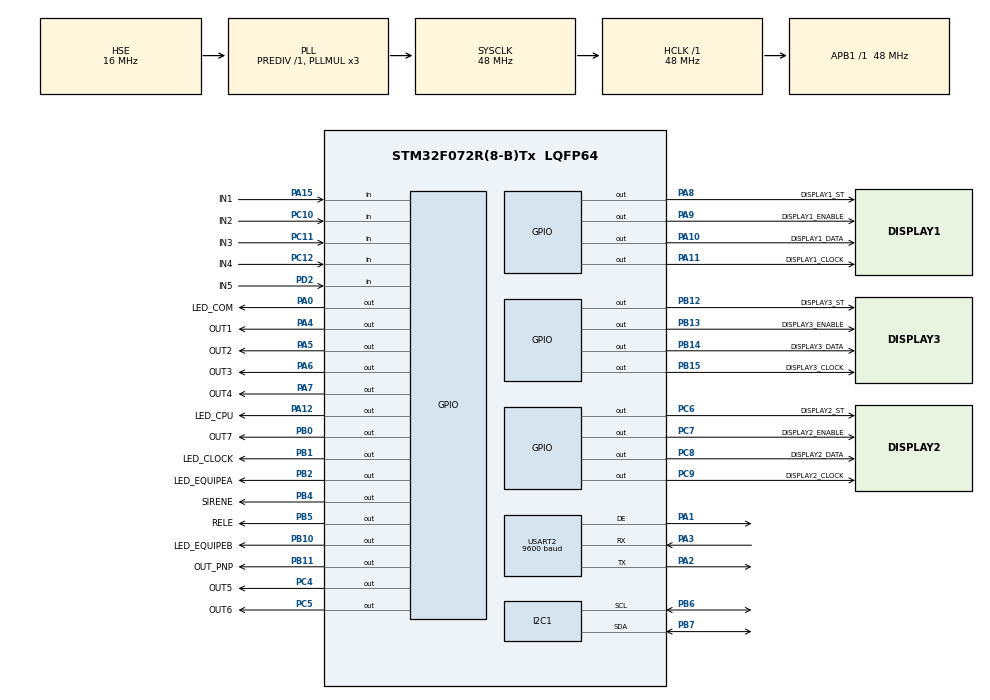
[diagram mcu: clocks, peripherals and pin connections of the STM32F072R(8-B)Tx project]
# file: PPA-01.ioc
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IWDG.Prescaler=IWDG_PRESCALER_64
Mcu.Family=STM32F0
Mcu.Name=STM32F072R(8-B)Tx
Mcu.Package=LQFP64
NVIC.TIM3_IRQn=true\:0\:0\:false\:false\:true\:true\:true\:true
NVIC.TIM6_DAC_IRQn=true\:0\:0\:false\:false\:true\:true\:true\:true
NVIC.USART2_IRQn=true\:0\:0\:false\:false\:true\:true\:true\:true
PA0.GPIO_Label=LED_COM
PA0.Signal=GPIO_Output
PA1.Mode=Hardware Flow Control (RS485)
PA1.Signal=USART2_DE
PA10.GPIO_Label=DISPLAY1_DATA
PA10.Signal=GPIO_Output
PA11.GPIO_Label=DISPLAY1_CLOCK
PA11.Signal=GPIO_Output
PA12.GPIO_Label=LED_CPU
PA12.Signal=GPIO_Output
PA13.Mode=Serial_Wire
PA13.Signal=SYS_SWDIO
PA14.Mode=Serial_Wire
PA14.Signal=SYS_SWCLK
PA15.GPIO_Label=IN1
PA15.Signal=GPIO_Input
PA2.Mode=Asynchronous
PA2.Signal=USART2_TX
PA3.Mode=Asynchronous
PA3.Signal=USART2_RX
PA4.GPIO_Label=OUT1
PA4.Signal=GPIO_Output
PA5.GPIO_Label=OUT2
PA5.Signal=GPIO_Output
PA6.GPIO_Label=OUT3
PA6.Signal=GPIO_Output
PA7.GPIO_Label=OUT4
PA7.Signal=GPIO_Output
PA8.GPIO_Label=DISPLAY1_ST
PA8.Signal=GPIO_Output
PA9.GPIO_Label=DISPLAY1_ENABLE
PA9.Signal=GPIO_Output
PB0.GPIO_Label=OUT7
PB0.Signal=GPIO_Output
PB1.GPIO_Label=LED_CLOCK
PB1.Signal=GPIO_Output
PB10.GPIO_Label=LED_EQUIPEB
PB10.Signal=GPIO_Output
PB11.GPIO_Label=OUT_PNP
PB11.Signal=GPIO_Output
PB12.GPIO_Label=DISPLAY3_ST
PB12.Signal=GPIO_Output
PB13.GPIO_Label=DISPLAY3_ENABLE
PB13.Signal=GPIO_Output
PB14.GPIO_Label=DISPLAY3_DATA
PB14.Signal=GPIO_Output
PB15.GPIO_Label=DISPLAY3_CLOCK
PB15.Signal=GPIO_Output
PB2.GPIO_Label=LED_EQUIPEA
PB2.Signal=GPIO_Output
PB4.GPIO_Label=SIRENE
PB4.Signal=GPIO_Output
PB5.GPIO_Label=RELE
PB5.Signal=GPIO_Output
PB6.Mode=I2C
PB6.Signal=I2C1_SCL
PB7.Mode=I2C
PB7.Signal=I2C1_SDA
PC10.GPIO_Label=IN2
PC10.Signal=GPIO_Input
PC11.GPIO_Label=IN3
PC11.Signal=GPIO_Input
PC12.GPIO_Label=IN4
PC12.Signal=GPIO_Input
PC4.GPIO_Label=OUT5
PC4.Signal=GPIO_Output
PC5.GPIO_Label=OUT6
PC5.Signal=GPIO_Output
PC6.GPIO_Label=DISPLAY2_ST
PC6.Signal=GPIO_Output
PC7.GPIO_Label=DISPLAY2_ENABLE
PC7.Signal=GPIO_Output
PC8.GPIO_Label=DISPLAY2_DATA
PC8.Signal=GPIO_Output
PC9.GPIO_Label=DISPLAY2_CLOCK
PC9.Signal=GPIO_Output
PD2.GPIO_Label=IN5
PD2.Signal=GPIO_Input
PF0-OSC_IN.Mode=HSE-External-Oscillator
PF0-OSC_IN.Signal=RCC_OSC_IN
PF1-OSC_OUT.Mode=HSE-External-Oscillator
PF1-OSC_OUT.Signal=RCC_OSC_OUT
ProjectManager.HeapSize=0x200
ProjectManager.StackSize=0x400
ProjectManager.TargetToolchain=STM32CubeIDE
RCC.AHBFreq_Value=48000000
RCC.APB1Freq_Value=48000000
RCC.APB1TimFreq_Value=48000000
RCC.EnbaleCSS=true
RCC.HCLKFreq_Value=48000000
RCC.HSE_VALUE=16000000
RCC.PLLMUL=RCC_PLL_MUL3
RCC.PLLSourceVirtual=RCC_PLLSOURCE_HSE
RCC.SYSCLKFreq_VALUE=48000000
RCC.SYSCLKSource=RCC_SYSCLKSOURCE_PLLCLK
TIM2.Prescaler=48-1
TIM3.Period=10-1
TIM3.Prescaler=480-1
TIM6.Period=100-1
TIM6.Prescaler=48000-1
USART2.BaudRate=9600
USART2.VirtualMode-Asynchronous=VM_ASYNC
USART2.VirtualMode-Hardware\ Flow\ Control\ (RS485)=VM_ASYNC
VP_IWDG_VS_IWDG.Mode=IWDG_Activate
VP_TIM2_VS_ClockSourceINT.Mode=Internal
VP_TIM3_VS_ClockSourceINT.Mode=Internal
VP_TIM6_VS_ClockSourceINT.Mode=Enable_Timer
board=custom

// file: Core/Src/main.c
/* USER CODE BEGIN Header */
/**
  ******************************************************************************
  * @file           : main.c
  * @brief          : Main program body
  ******************************************************************************
  * @attention
  *
  * Copyright (c) 2023 STMicroelectronics.
  * All rights reserved.
  *
  * This software is licensed under terms that can be found in the LICENSE file
  * in the root directory of this software component.
  * If no LICENSE file comes with this software, it is provided AS-IS.
  *
  ******************************************************************************
  */
/* USER CODE END Header */
#include "main.h"

/* USER CODE BEGIN Includes */
#include "global.h"
#include "string.h"
/* USER CODE END Includes */

I2C_HandleTypeDef hi2c1;

IWDG_HandleTypeDef hiwdg;

TIM_HandleTypeDef htim2;
TIM_HandleTypeDef htim3;
TIM_HandleTypeDef htim6;

UART_HandleTypeDef huart2;

/* USER CODE BEGIN PV */

CronometroTypeDef
	cronometro,
	setpointCronometro;

uint8_t
	flagLedCOM = false,
	flagAtualizaDisplays = false,

	flagCampainha = false,
	flagCronometro = false,
	flagCronometroEstourado = false,
	flagCronometroZerado = false,

	flagTempoTimeA = false,
	flagTempoTimeB = false,

	flagPacoteRS485 = true;

uint8_t
	faltasEquipeA = 0,
	faltasEquipeB = 0,
	periodo = 1,
	tipoCronometro = REGRESSIVO,

	comandoPlacar = SEM_COMANDO,

	contadorRS485Buffer = 0;

char
	rs485DataIn = 0;

uint16_t
	pontosEquipeA = 0,
	pontosEquipeB = 0;

uint8_t
	displaysCronometro[5],
	displaysEquipeA[5],
	displaysEquipeB[5];

char
	rs485Buffer[TAMANHO_RS485_BUFFER];

/* USER CODE END PV */

void SystemClock_Config(void);
static void MX_GPIO_Init(void);
static void MX_I2C1_Init(void);
static void MX_IWDG_Init(void);
static void MX_USART2_UART_Init(void);
static void MX_TIM2_Init(void);
static void MX_TIM3_Init(void);
static void MX_TIM6_Init(void);

/* USER CODE BEGIN 0 */
void HAL_TIM_PeriodElapsedCallback(TIM_HandleTypeDef *htim) {
	if(htim == &htim3) {
		schedulerEngine();
	}

	if(htim == &htim6) {
		controleCronometro();
	}
}

void delayMicro(uint32_t tempo) {
	__HAL_TIM_SET_COUNTER(&htim2, 0);
	while(__HAL_TIM_GET_COUNTER(&htim2) < tempo) {
	}
}

void reiniciaWatchDog() {
	HAL_IWDG_Refresh(&hiwdg);
}

void HAL_UART_RxCpltCallback(UART_HandleTypeDef *huart) {
	if(huart-> Instance==USART2) { // RS485
		if(rs485DataIn == 0x0) {
			return;
		}

		rs485Buffer[contadorRS485Buffer] = rs485DataIn;
		contadorRS485Buffer ++;

		if(contadorRS485Buffer >= TAMANHO_RS485_BUFFER) {
			limpaRS485Buffer();
		}

		if(rs485DataIn == 0x0A) {
			flagPacoteRS485 = true;
		}
	}

}
/* USER CODE END 0 */

int main(void)
{

  /* MCU Configuration--------------------------------------------------------*/

  /* Reset of all peripherals, Initializes the Flash interface and the Systick. */
  HAL_Init();

  /* Configure the system clock */
  SystemClock_Config();

  /* Initialize all configured peripherals */
  MX_GPIO_Init();
  MX_I2C1_Init();
  MX_IWDG_Init();
  MX_USART2_UART_Init();
  MX_TIM2_Init();
  MX_TIM3_Init();
  MX_TIM6_Init();
  /* USER CODE BEGIN 2 */
  HAL_TIM_Base_Start(&htim2); //Timer do delay us
  HAL_TIM_Base_Start_IT(&htim3); //Timer do Scheduller
  HAL_TIM_Base_Start_IT(&htim6); //Cronometro

  apresentacaoInicial();

  verificaEeprom();
  readEeprom();

  verificacaoInicialCronometro();
  /* USER CODE END 2 */

  /* Infinite loop */
  /* USER CODE BEGIN WHILE */
  while (1)
  {
	  atualizaDisplays();
	  controlePlacar();
	  saidasDigitais();
    /* USER CODE END WHILE */

    /* USER CODE BEGIN 3 */
	  HAL_UART_Receive_IT(&huart2, &rs485DataIn, 1);
	  protocoloRS485();
  }
  /* USER CODE END 3 */
}

void SystemClock_Config(void)
{
  RCC_OscInitTypeDef RCC_OscInitStruct = {0};
  RCC_ClkInitTypeDef RCC_ClkInitStruct = {0};
  RCC_PeriphCLKInitTypeDef PeriphClkInit = {0};

  /** Initializes the RCC Oscillators according to the specified parameters
  * in the RCC_OscInitTypeDef structure.
  */
  RCC_OscInitStruct.OscillatorType = RCC_OSCILLATORTYPE_HSI|RCC_OSCILLATORTYPE_LSI
                              |RCC_OSCILLATORTYPE_HSE;
  RCC_OscInitStruct.HSEState = RCC_HSE_ON;
  RCC_OscInitStruct.HSIState = RCC_HSI_ON;
  RCC_OscInitStruct.HSICalibrationValue = RCC_HSICALIBRATION_DEFAULT;
  RCC_OscInitStruct.LSIState = RCC_LSI_ON;
  RCC_OscInitStruct.PLL.PLLState = RCC_PLL_ON;
  RCC_OscInitStruct.PLL.PLLSource = RCC_PLLSOURCE_HSE;
  RCC_OscInitStruct.PLL.PLLMUL = RCC_PLL_MUL3;
  RCC_OscInitStruct.PLL.PREDIV = RCC_PREDIV_DIV1;
  if (HAL_RCC_OscConfig(&RCC_OscInitStruct) != HAL_OK)
  {
    Error_Handler();
  }

  /** Initializes the CPU, AHB and APB buses clocks
  */
  RCC_ClkInitStruct.ClockType = RCC_CLOCKTYPE_HCLK|RCC_CLOCKTYPE_SYSCLK
                              |RCC_CLOCKTYPE_PCLK1;
  RCC_ClkInitStruct.SYSCLKSource = RCC_SYSCLKSOURCE_PLLCLK;
  RCC_ClkInitStruct.AHBCLKDivider = RCC_SYSCLK_DIV1;
  RCC_ClkInitStruct.APB1CLKDivider = RCC_HCLK_DIV1;

  if (HAL_RCC_ClockConfig(&RCC_ClkInitStruct, FLASH_LATENCY_1) != HAL_OK)
  {
    Error_Handler();
  }
  PeriphClkInit.PeriphClockSelection = RCC_PERIPHCLK_USART2|RCC_PERIPHCLK_I2C1;
  PeriphClkInit.Usart2ClockSelection = RCC_USART2CLKSOURCE_PCLK1;
  PeriphClkInit.I2c1ClockSelection = RCC_I2C1CLKSOURCE_HSI;
  if (HAL_RCCEx_PeriphCLKConfig(&PeriphClkInit) != HAL_OK)
  {
    Error_Handler();
  }

  /** Enables the Clock Security System
  */
  HAL_RCC_EnableCSS();
}

static void MX_I2C1_Init(void)
{

  hi2c1.Instance = I2C1;
  hi2c1.Init.Timing = 0x2000090E;
  hi2c1.Init.OwnAddress1 = 0;
  hi2c1.Init.AddressingMode = I2C_ADDRESSINGMODE_7BIT;
  hi2c1.Init.DualAddressMode = I2C_DUALADDRESS_DISABLE;
  hi2c1.Init.OwnAddress2 = 0;
  hi2c1.Init.OwnAddress2Masks = I2C_OA2_NOMASK;
  hi2c1.Init.GeneralCallMode = I2C_GENERALCALL_DISABLE;
  hi2c1.Init.NoStretchMode = I2C_NOSTRETCH_DISABLE;
  if (HAL_I2C_Init(&hi2c1) != HAL_OK)
  {
    Error_Handler();
  }

  /** Configure Analogue filter
  */
  if (HAL_I2CEx_ConfigAnalogFilter(&hi2c1, I2C_ANALOGFILTER_ENABLE) != HAL_OK)
  {
    Error_Handler();
  }

  /** Configure Digital filter
  */
  if (HAL_I2CEx_ConfigDigitalFilter(&hi2c1, 0) != HAL_OK)
  {
    Error_Handler();
  }

}

static void MX_IWDG_Init(void)
{

  hiwdg.Instance = IWDG;
  hiwdg.Init.Prescaler = IWDG_PRESCALER_64;
  hiwdg.Init.Window = 4095;
  hiwdg.Init.Reload = 4095;
  if (HAL_IWDG_Init(&hiwdg) != HAL_OK)
  {
    Error_Handler();
  }

}

static void MX_TIM2_Init(void)
{

  TIM_ClockConfigTypeDef sClockSourceConfig = {0};
  TIM_MasterConfigTypeDef sMasterConfig = {0};

  htim2.Instance = TIM2;
  htim2.Init.Prescaler = 48-1;
  htim2.Init.CounterMode = TIM_COUNTERMODE_UP;
  htim2.Init.Period = 4294967295;
  htim2.Init.ClockDivision = TIM_CLOCKDIVISION_DIV1;
  htim2.Init.AutoReloadPreload = TIM_AUTORELOAD_PRELOAD_DISABLE;
  if (HAL_TIM_Base_Init(&htim2) != HAL_OK)
  {
    Error_Handler();
  }
  sClockSourceConfig.ClockSource = TIM_CLOCKSOURCE_INTERNAL;
  if (HAL_TIM_ConfigClockSource(&htim2, &sClockSourceConfig) != HAL_OK)
  {
    Error_Handler();
  }
  sMasterConfig.MasterOutputTrigger = TIM_TRGO_RESET;
  sMasterConfig.MasterSlaveMode = TIM_MASTERSLAVEMODE_DISABLE;
  if (HAL_TIMEx_MasterConfigSynchronization(&htim2, &sMasterConfig) != HAL_OK)
  {
    Error_Handler();
  }

}

static void MX_TIM3_Init(void)
{

  TIM_ClockConfigTypeDef sClockSourceConfig = {0};
  TIM_MasterConfigTypeDef sMasterConfig = {0};

  htim3.Instance = TIM3;
  htim3.Init.Prescaler = 480-1;
  htim3.Init.CounterMode = TIM_COUNTERMODE_UP;
  htim3.Init.Period = 10-1;
  htim3.Init.ClockDivision = TIM_CLOCKDIVISION_DIV1;
  htim3.Init.AutoReloadPreload = TIM_AUTORELOAD_PRELOAD_DISABLE;
  if (HAL_TIM_Base_Init(&htim3) != HAL_OK)
  {
    Error_Handler();
  }
  sClockSourceConfig.ClockSource = TIM_CLOCKSOURCE_INTERNAL;
  if (HAL_TIM_ConfigClockSource(&htim3, &sClockSourceConfig) != HAL_OK)
  {
    Error_Handler();
  }
  sMasterConfig.MasterOutputTrigger = TIM_TRGO_RESET;
  sMasterConfig.MasterSlaveMode = TIM_MASTERSLAVEMODE_DISABLE;
  if (HAL_TIMEx_MasterConfigSynchronization(&htim3, &sMasterConfig) != HAL_OK)
  {
    Error_Handler();
  }

}

static void MX_TIM6_Init(void)
{

  TIM_MasterConfigTypeDef sMasterConfig = {0};

  htim6.Instance = TIM6;
  htim6.Init.Prescaler = 48000-1;
  htim6.Init.CounterMode = TIM_COUNTERMODE_UP;
  htim6.Init.Period = 100-1;
  htim6.Init.AutoReloadPreload = TIM_AUTORELOAD_PRELOAD_DISABLE;
  if (HAL_TIM_Base_Init(&htim6) != HAL_OK)
  {
    Error_Handler();
  }
  sMasterConfig.MasterOutputTrigger = TIM_TRGO_RESET;
  sMasterConfig.MasterSlaveMode = TIM_MASTERSLAVEMODE_DISABLE;
  if (HAL_TIMEx_MasterConfigSynchronization(&htim6, &sMasterConfig) != HAL_OK)
  {
    Error_Handler();
  }

}

static void MX_USART2_UART_Init(void)
{

  huart2.Instance = USART2;
  huart2.Init.BaudRate = 9600;
  huart2.Init.WordLength = UART_WORDLENGTH_8B;
  huart2.Init.StopBits = UART_STOPBITS_1;
  huart2.Init.Parity = UART_PARITY_NONE;
  huart2.Init.Mode = UART_MODE_TX_RX;
  huart2.Init.HwFlowCtl = UART_HWCONTROL_NONE;
  huart2.Init.OverSampling = UART_OVERSAMPLING_16;
  huart2.Init.OneBitSampling = UART_ONE_BIT_SAMPLE_DISABLE;
  huart2.AdvancedInit.AdvFeatureInit = UART_ADVFEATURE_NO_INIT;
  if (HAL_RS485Ex_Init(&huart2, UART_DE_POLARITY_HIGH, 0, 0) != HAL_OK)
  {
    Error_Handler();
  }

}

static void MX_GPIO_Init(void)
{
  GPIO_InitTypeDef GPIO_InitStruct = {0};

  /* GPIO Ports Clock Enable */
  __HAL_RCC_GPIOF_CLK_ENABLE();
  __HAL_RCC_GPIOA_CLK_ENABLE();
  __HAL_RCC_GPIOC_CLK_ENABLE();
  __HAL_RCC_GPIOB_CLK_ENABLE();
  __HAL_RCC_GPIOD_CLK_ENABLE();

  /*Configure GPIO pin Output Level */
  HAL_GPIO_WritePin(GPIOA, LED_COM_Pin|OUT1_Pin|OUT2_Pin|OUT3_Pin
                          |OUT4_Pin|DISPLAY1_ST_Pin|DISPLAY1_ENABLE_Pin|DISPLAY1_DATA_Pin
                          |DISPLAY1_CLOCK_Pin|LED_CPU_Pin, GPIO_PIN_RESET);

  /*Configure GPIO pin Output Level */
  HAL_GPIO_WritePin(GPIOC, OUT5_Pin|OUT6_Pin|DISPLAY2_ST_Pin|DISPLAY2_ENABLE_Pin
                          |DISPLAY2_DATA_Pin|DISPLAY2_CLOCK_Pin, GPIO_PIN_RESET);

  /*Configure GPIO pin Output Level */
  HAL_GPIO_WritePin(GPIOB, OUT7_Pin|LED_CLOCK_Pin|LED_EQUIPEA_Pin|LED_EQUIPEB_Pin
                          |OUT_PNP_Pin|DISPLAY3_ST_Pin|DISPLAY3_ENABLE_Pin|DISPLAY3_DATA_Pin
                          |DISPLAY3_CLOCK_Pin|SIRENE_Pin|RELE_Pin, GPIO_PIN_RESET);

  /*Configure GPIO pins : LED_COM_Pin OUT1_Pin OUT2_Pin OUT3_Pin
                           OUT4_Pin DISPLAY1_ST_Pin DISPLAY1_ENABLE_Pin DISPLAY1_DATA_Pin
                           DISPLAY1_CLOCK_Pin LED_CPU_Pin */
  GPIO_InitStruct.Pin = LED_COM_Pin|OUT1_Pin|OUT2_Pin|OUT3_Pin
                          |OUT4_Pin|DISPLAY1_ST_Pin|DISPLAY1_ENABLE_Pin|DISPLAY1_DATA_Pin
                          |DISPLAY1_CLOCK_Pin|LED_CPU_Pin;
  GPIO_InitStruct.Mode = GPIO_MODE_OUTPUT_PP;
  GPIO_InitStruct.Pull = GPIO_NOPULL;
  GPIO_InitStruct.Speed = GPIO_SPEED_FREQ_LOW;
  HAL_GPIO_Init(GPIOA, &GPIO_InitStruct);

  /*Configure GPIO pins : OUT5_Pin OUT6_Pin DISPLAY2_ST_Pin DISPLAY2_ENABLE_Pin
                           DISPLAY2_DATA_Pin DISPLAY2_CLOCK_Pin */
  GPIO_InitStruct.Pin = OUT5_Pin|OUT6_Pin|DISPLAY2_ST_Pin|DISPLAY2_ENABLE_Pin
                          |DISPLAY2_DATA_Pin|DISPLAY2_CLOCK_Pin;
  GPIO_InitStruct.Mode = GPIO_MODE_OUTPUT_PP;
  GPIO_InitStruct.Pull = GPIO_NOPULL;
  GPIO_InitStruct.Speed = GPIO_SPEED_FREQ_LOW;
  HAL_GPIO_Init(GPIOC, &GPIO_InitStruct);

  /*Configure GPIO pins : OUT7_Pin LED_CLOCK_Pin LED_EQUIPEA_Pin LED_EQUIPEB_Pin
                           OUT_PNP_Pin DISPLAY3_ST_Pin DISPLAY3_ENABLE_Pin DISPLAY3_DATA_Pin
                           DISPLAY3_CLOCK_Pin SIRENE_Pin RELE_Pin */
  GPIO_InitStruct.Pin = OUT7_Pin|LED_CLOCK_Pin|LED_EQUIPEA_Pin|LED_EQUIPEB_Pin
                          |OUT_PNP_Pin|DISPLAY3_ST_Pin|DISPLAY3_ENABLE_Pin|DISPLAY3_DATA_Pin
                          |DISPLAY3_CLOCK_Pin|SIRENE_Pin|RELE_Pin;
  GPIO_InitStruct.Mode = GPIO_MODE_OUTPUT_PP;
  GPIO_InitStruct.Pull = GPIO_NOPULL;
  GPIO_InitStruct.Speed = GPIO_SPEED_FREQ_LOW;
  HAL_GPIO_Init(GPIOB, &GPIO_InitStruct);

  /*Configure GPIO pin : IN1_Pin */
  GPIO_InitStruct.Pin = IN1_Pin;
  GPIO_InitStruct.Mode = GPIO_MODE_INPUT;
  GPIO_InitStruct.Pull = GPIO_NOPULL;
  HAL_GPIO_Init(IN1_GPIO_Port, &GPIO_InitStruct);

  /*Configure GPIO pins : IN2_Pin IN3_Pin IN4_Pin */
  GPIO_InitStruct.Pin = IN2_Pin|IN3_Pin|IN4_Pin;
  GPIO_InitStruct.Mode = GPIO_MODE_INPUT;
  GPIO_InitStruct.Pull = GPIO_NOPULL;
  HAL_GPIO_Init(GPIOC, &GPIO_InitStruct);

  /*Configure GPIO pin : IN5_Pin */
  GPIO_InitStruct.Pin = IN5_Pin;
  GPIO_InitStruct.Mode = GPIO_MODE_INPUT;
  GPIO_InitStruct.Pull = GPIO_NOPULL;
  HAL_GPIO_Init(IN5_GPIO_Port, &GPIO_InitStruct);

}

void Error_Handler(void)
{
  __disable_irq();
  while (1)
  {
  }
}
